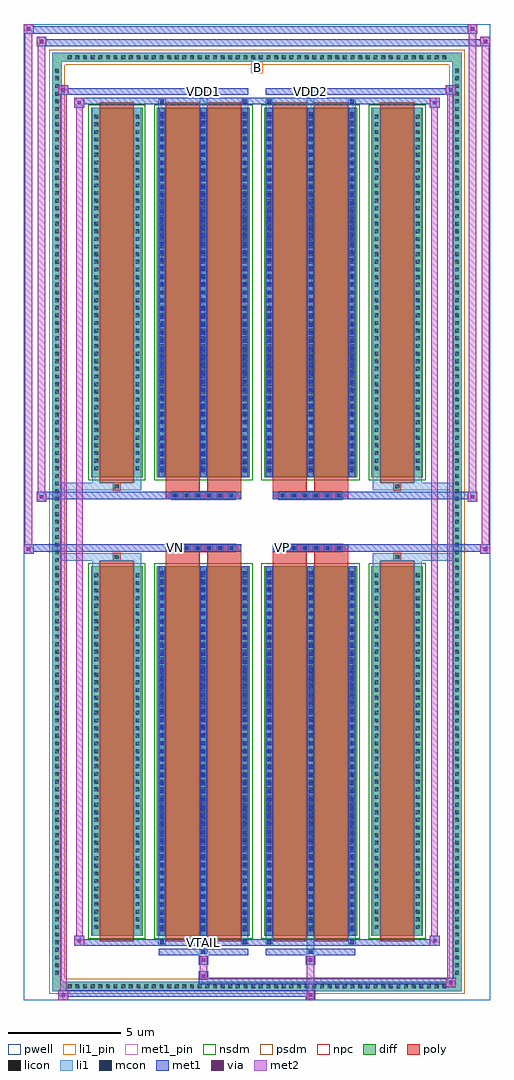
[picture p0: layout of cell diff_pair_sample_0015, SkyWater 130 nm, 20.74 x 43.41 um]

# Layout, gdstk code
import gdstk
lib = gdstk.Library(unit=1e-6, precision=5e-09)
def R(c, l, rs):  # rectangles x0, y0, x1, y1
    for r in rs: c.add(gdstk.rectangle(r[:2], r[2:], *l))
def A(c, l, x, y, w, h, nx, ny, dx, dy):  # array of equal rectangles
    R(c, l, [(x+i*dx, y+j*dy, x+i*dx+w, y+j*dy+h) for i in range(nx) for j in range(ny)])
def P(c, l, *ps):  # polygons
    for p in ps: c.add(gdstk.Polygon(p, *l))
pwell = (64, 44)
diff = (65, 20)
poly = (66, 20)
licon = (66, 44)
li1_pin = (67, 16)
li1 = (67, 20)
mcon = (67, 44)
met1_pin = (68, 16)
met1 = (68, 20)
via = (68, 44)
met2 = (69, 20)
nsdm = (93, 44)
psdm = (94, 20)
npc = (95, 20)

diff_pair_sample_0015 = lib.new_cell('diff_pair_sample_0015')
R(diff_pair_sample_0015, pwell, [(-10.37,-21.27,10.37,22.14), (-7.69,-19.46,-0.01,-0.8), (0.01,-19.46,7.69,-0.8), (-7.69,0.8,-0.01,19.46), (0.01,0.8,7.69,19.46)])
A(diff_pair_sample_0015, diff, -8.535, -20.87, 0.41, 0.41, 50, 2, 0.34, 41.33)
A(diff_pair_sample_0015, diff, -9.1, -20.265, 0.41, 0.41, 1, 119, 0, 0.34)
A(diff_pair_sample_0015, diff, 8.69, -20.265, 0.41, 0.41, 1, 119, 0, 0.34)
R(diff_pair_sample_0015, diff, [(-8.535,-20.87,8.535,-20.46), (-9.1,-20.265,-8.69,20.265), (8.69,-20.265,9.1,20.265), (-7.38,-18.415,-5.09,-1.985), (-4.45,-18.415,-0.32,-1.985), (0.32,-18.415,4.45,-1.985), (5.09,-18.415,7.38,-1.985), (-7.38,1.985,-5.09,18.415), (-4.45,1.985,-0.32,18.415), (0.32,1.985,4.45,18.415), (5.09,1.985,7.38,18.415), (-8.535,20.46,8.535,20.87)])
P(diff_pair_sample_0015, diff, [(9.1,20.87),(-9.1,20.87),(-9.1,-20.46),(-8.69,-20.46),(-8.69,20.46),(8.69,20.46),(8.69,-20.46),(-8.69,-20.46),(-9.1,-20.46),(-9.1,-20.87),(9.1,-20.87)])
A(diff_pair_sample_0015, poly, -3.8, -1.33, 0.33, 0.33, 6, 2, 0.5, 2.33)
A(diff_pair_sample_0015, poly, 0.97, -1.33, 0.33, 0.33, 6, 2, 0.5, 2.33)
R(diff_pair_sample_0015, poly, [(-6.99,-18.665,-5.48,-1.735), (-4.06,-18.665,-2.55,-1.735), (-2.22,-18.665,-0.71,-1.735), (0.71,-18.665,2.22,-1.735), (2.55,-18.665,4.06,-1.735), (5.48,-18.665,6.99,-1.735), (-6.4,-1.735,-6.07,-1.405), (-6.4,-1.735,-6.07,-1.405), (-4.06,-1.735,-2.55,-1.33), (-2.22,-1.735,-0.71,-1.33), (0.71,-1.735,2.22,-1.33), (2.55,-1.735,4.06,-1.33), (6.07,-1.735,6.4,-1.405), (6.07,-1.735,6.4,-1.405), (-4.06,-1.33,-0.71,-1), (0.71,-1.33,4.06,-1), (-4.06,1,-0.71,1.33), (0.71,1,4.06,1.33), (-4.06,1.33,-2.55,1.735), (-2.22,1.33,-0.71,1.735), (0.71,1.33,2.22,1.735), (2.55,1.33,4.06,1.735), (-6.4,1.405,-6.07,1.735), (-6.4,1.405,-6.07,1.735), (6.07,1.405,6.4,1.735), (6.07,1.405,6.4,1.735), (-6.99,1.735,-5.48,18.665), (-4.06,1.735,-2.55,18.665), (-2.22,1.735,-0.71,18.665), (0.71,1.735,2.22,18.665), (2.55,1.735,4.06,18.665), (5.48,1.735,6.99,18.665)])
A(diff_pair_sample_0015, licon, -8.415, -20.75, 0.17, 0.17, 50, 2, 0.34, 41.33)
A(diff_pair_sample_0015, licon, -8.98, -20.145, 0.17, 0.17, 1, 119, 0, 0.34)
A(diff_pair_sample_0015, licon, 8.81, -20.145, 0.17, 0.17, 1, 119, 0, 0.34)
A(diff_pair_sample_0015, licon, -7.24, -18.105, 0.17, 0.17, 1, 47, 0, 0.34)
A(diff_pair_sample_0015, licon, -5.4, -18.105, 0.17, 0.17, 1, 47, 0, 0.34)
A(diff_pair_sample_0015, licon, -4.31, -18.105, 0.17, 0.17, 3, 47, 1.84, 0.34)
A(diff_pair_sample_0015, licon, 0.46, -18.105, 0.17, 0.17, 3, 47, 1.84, 0.34)
A(diff_pair_sample_0015, licon, 5.23, -18.105, 0.17, 0.17, 1, 47, 0, 0.34)
A(diff_pair_sample_0015, licon, 7.07, -18.105, 0.17, 0.17, 1, 47, 0, 0.34)
A(diff_pair_sample_0015, licon, -3.72, -1.25, 0.17, 0.17, 6, 2, 0.5, 2.33)
A(diff_pair_sample_0015, licon, 1.05, -1.25, 0.17, 0.17, 6, 2, 0.5, 2.33)
A(diff_pair_sample_0015, licon, -7.24, 2.295, 0.17, 0.17, 1, 47, 0, 0.34)
A(diff_pair_sample_0015, licon, -5.4, 2.295, 0.17, 0.17, 1, 47, 0, 0.34)
A(diff_pair_sample_0015, licon, -4.31, 2.295, 0.17, 0.17, 3, 47, 1.84, 0.34)
A(diff_pair_sample_0015, licon, 0.46, 2.295, 0.17, 0.17, 3, 47, 1.84, 0.34)
A(diff_pair_sample_0015, licon, 5.23, 2.295, 0.17, 0.17, 1, 47, 0, 0.34)
A(diff_pair_sample_0015, licon, 7.07, 2.295, 0.17, 0.17, 1, 47, 0, 0.34)
R(diff_pair_sample_0015, licon, [(-6.32,-1.655,-6.15,-1.485), (6.15,-1.655,6.32,-1.485), (-6.32,1.485,-6.15,1.655), (6.15,1.485,6.32,1.655)])
R(diff_pair_sample_0015, li1_pin, [(-0.25,19.96,0.25,20.46)])
A(diff_pair_sample_0015, li1, -8.495, -20.83, 0.33, 0.33, 50, 2, 0.34, 41.33)
A(diff_pair_sample_0015, li1, -9.06, -20.225, 0.33, 0.33, 1, 119, 0, 0.34)
A(diff_pair_sample_0015, li1, 8.73, -20.225, 0.33, 0.33, 1, 119, 0, 0.34)
A(diff_pair_sample_0015, li1, -4.39, -18.415, 0.33, 16.43, 3, 2, 1.84, 20.4)
A(diff_pair_sample_0015, li1, 0.38, -18.415, 0.33, 16.43, 3, 2, 1.84, 20.4)
A(diff_pair_sample_0015, li1, -4.31, -18.205, 0.17, 0.17, 3, 45, 1.84, 0.36)
A(diff_pair_sample_0015, li1, -4.31, -18.205, 0.17, 16.01, 3, 2, 1.84, 20.4)
A(diff_pair_sample_0015, li1, 0.46, -18.205, 0.17, 0.17, 3, 45, 1.84, 0.36)
A(diff_pair_sample_0015, li1, 0.46, -18.205, 0.17, 16.01, 3, 2, 1.84, 20.4)
A(diff_pair_sample_0015, li1, -7.32, -18.185, 0.33, 0.33, 1, 47, 0, 0.34)
A(diff_pair_sample_0015, li1, -5.48, -18.185, 0.33, 0.33, 1, 47, 0, 0.34)
A(diff_pair_sample_0015, li1, -4.39, -18.185, 0.33, 0.33, 3, 47, 1.84, 0.34)
A(diff_pair_sample_0015, li1, 0.38, -18.185, 0.33, 0.33, 3, 47, 1.84, 0.34)
A(diff_pair_sample_0015, li1, 5.15, -18.185, 0.33, 0.33, 1, 47, 0, 0.34)
A(diff_pair_sample_0015, li1, 6.99, -18.185, 0.33, 0.33, 1, 47, 0, 0.34)
A(diff_pair_sample_0015, li1, -3.8, -1.33, 0.33, 0.33, 6, 2, 0.5, 2.33)
A(diff_pair_sample_0015, li1, 0.97, -1.33, 0.33, 0.33, 6, 2, 0.5, 2.33)
A(diff_pair_sample_0015, li1, -4.31, 2.195, 0.17, 0.17, 3, 45, 1.84, 0.36)
A(diff_pair_sample_0015, li1, 0.46, 2.195, 0.17, 0.17, 3, 45, 1.84, 0.36)
A(diff_pair_sample_0015, li1, -7.32, 2.215, 0.33, 0.33, 1, 47, 0, 0.34)
A(diff_pair_sample_0015, li1, -5.48, 2.215, 0.33, 0.33, 1, 47, 0, 0.34)
A(diff_pair_sample_0015, li1, -4.39, 2.215, 0.33, 0.33, 3, 47, 1.84, 0.34)
A(diff_pair_sample_0015, li1, 0.38, 2.215, 0.33, 0.33, 3, 47, 1.84, 0.34)
A(diff_pair_sample_0015, li1, 5.15, 2.215, 0.33, 0.33, 1, 47, 0, 0.34)
A(diff_pair_sample_0015, li1, 6.99, 2.215, 0.33, 0.33, 1, 47, 0, 0.34)
R(diff_pair_sample_0015, li1, [(-9.1,-20.87,-8.69,-20.46), (-9.1,-20.87,-8.69,-20.46), (-8.69,-20.87,8.69,-20.46), (8.69,-20.87,9.1,-20.46), (8.69,-20.87,9.1,-20.46), (-9.1,-20.46,-8.69,20.46), (8.69,-20.46,9.1,20.46), (-2.55,-19.22,-2.22,-18.415), (-2.47,-19.22,-2.3,-19.05), (2.22,-19.22,2.55,-18.415), (2.3,-19.22,2.47,-19.05), (-4.39,-18.79,-4.06,-18.415), (-4.31,-18.79,-4.14,-18.62), (-0.71,-18.79,-0.38,-18.415), (-0.63,-18.79,-0.46,-18.62), (0.38,-18.79,0.71,-18.415), (0.46,-18.79,0.63,-18.62), (4.06,-18.79,4.39,-18.415), (4.14,-18.79,4.31,-18.62), (-7.32,-18.415,-6.99,-1.985), (-5.48,-18.415,-5.15,-1.985), (5.15,-18.415,5.48,-1.985), (6.99,-18.415,7.32,-1.985), (-7.32,-1.985,-6.99,-1.405), (-5.48,-1.985,-5.15,-1.405), (5.15,-1.985,5.48,-1.405), (6.99,-1.985,7.32,-1.405), (-9.1,-1.735,-6.4,-1.405), (-7.32,-1.735,-6.4,-1.405), (-6.4,-1.735,-6.07,-1.405), (-6.07,-1.735,-5.15,-1.405), (5.15,-1.735,6.07,-1.405), (6.07,-1.735,6.4,-1.405), (6.07,-1.735,9.1,-1.405), (6.4,-1.735,7.32,-1.405), (-9.1,1.405,-6.4,1.735), (-7.32,1.405,-6.4,1.735), (-7.32,1.405,-6.99,1.985), (-6.4,1.405,-6.07,1.735), (-6.07,1.405,-5.15,1.735), (-5.48,1.405,-5.15,1.985), (5.15,1.405,6.07,1.735), (5.15,1.405,5.48,1.985), (6.07,1.405,6.4,1.735), (6.07,1.405,9.1,1.735), (6.4,1.405,7.32,1.735), (6.99,1.405,7.32,1.985), (-7.32,1.985,-6.99,18.415), (-5.48,1.985,-5.15,18.415), (5.15,1.985,5.48,18.415), (6.99,1.985,7.32,18.415), (-4.39,18.415,-4.06,18.79), (-2.55,18.415,-2.22,19.22), (-0.71,18.415,-0.38,18.79), (0.38,18.415,0.71,18.79), (2.22,18.415,2.55,19.22), (4.06,18.415,4.39,18.79), (-4.31,18.62,-4.14,18.79), (-0.63,18.62,-0.46,18.79), (0.46,18.62,0.63,18.79), (4.14,18.62,4.31,18.79), (-2.47,19.05,-2.3,19.22), (2.3,19.05,2.47,19.22), (-9.1,20.46,-8.69,20.87), (-9.1,20.46,-8.69,20.87), (-8.69,20.46,8.69,20.87), (8.69,20.46,9.1,20.87), (8.69,20.46,9.1,20.87)])
A(diff_pair_sample_0015, mcon, -4.31, -18.205, 0.17, 0.17, 3, 45, 1.84, 0.36)
A(diff_pair_sample_0015, mcon, 0.46, -18.205, 0.17, 0.17, 3, 45, 1.84, 0.36)
A(diff_pair_sample_0015, mcon, -3.72, -1.25, 0.17, 0.17, 6, 2, 0.5, 2.33)
A(diff_pair_sample_0015, mcon, 1.05, -1.25, 0.17, 0.17, 6, 2, 0.5, 2.33)
A(diff_pair_sample_0015, mcon, -4.31, 2.195, 0.17, 0.17, 3, 45, 1.84, 0.36)
A(diff_pair_sample_0015, mcon, 0.46, 2.195, 0.17, 0.17, 3, 45, 1.84, 0.36)
R(diff_pair_sample_0015, mcon, [(-2.47,-19.22,-2.3,-19.05), (2.3,-19.22,2.47,-19.05), (-4.31,-18.79,-4.14,-18.62), (-0.63,-18.79,-0.46,-18.62), (0.46,-18.79,0.63,-18.62), (4.14,-18.79,4.31,-18.62), (-4.31,18.62,-4.14,18.79), (-0.63,18.62,-0.46,18.79), (0.46,18.62,0.63,18.79), (4.14,18.62,4.31,18.79), (-2.47,19.05,-2.3,19.22), (2.3,19.05,2.47,19.22)])
R(diff_pair_sample_0015, met1_pin, [(-2.52,-18.83,-2.25,-18.56), (-3.77,-1.29,-3.5,-1.02), (1,-1.29,1.27,-1.02), (-2.52,19.01,-2.25,19.28), (2.25,19.01,2.52,19.28)])
A(diff_pair_sample_0015, met1, -4.37, -18.415, 0.29, 16.43, 3, 2, 1.84, 20.4)
A(diff_pair_sample_0015, met1, 0.4, -18.415, 0.29, 16.43, 3, 2, 1.84, 20.4)
A(diff_pair_sample_0015, met1, -4.37, -18.265, 0.29, 0.29, 3, 45, 1.84, 0.36)
A(diff_pair_sample_0015, met1, 0.4, -18.265, 0.29, 0.29, 3, 45, 1.84, 0.36)
A(diff_pair_sample_0015, met1, -3.78, -1.31, 0.29, 0.29, 6, 2, 0.5, 2.33)
A(diff_pair_sample_0015, met1, 0.99, -1.31, 0.29, 0.29, 6, 2, 0.5, 2.33)
A(diff_pair_sample_0015, met1, -4.37, 2.135, 0.29, 0.29, 3, 45, 1.84, 0.36)
A(diff_pair_sample_0015, met1, 0.4, 2.135, 0.29, 0.29, 3, 45, 1.84, 0.36)
R(diff_pair_sample_0015, met1, [(-8.83,-21.27,-8.4,-20.84), (2.17,-21.27,2.6,-20.84), (-8.83,-21.13,2.6,-20.84), (8.4,-20.7,8.83,-20.27), (-2.6,-20.56,8.83,-20.27), (-2.6,-20.42,-2.17,-19.99), (-2.6,-19.71,-2.17,-19.28), (2.17,-19.71,2.6,-19.28), (-4.37,-19.28,-0.4,-18.99), (-2.53,-19.28,-2.24,-18.99), (0.4,-19.28,4.37,-18.99), (2.24,-19.28,2.53,-18.99), (-8.12,-18.85,-7.69,-18.42), (-8.12,-18.85,-4.37,-18.56), (-4.37,-18.85,-4.08,-18.56), (-4.37,-18.85,-0.4,-18.56), (-0.69,-18.85,-0.4,-18.56), (-0.4,-18.85,0.4,-18.56), (0.4,-18.85,0.69,-18.56), (0.4,-18.85,4.37,-18.56), (4.08,-18.85,4.37,-18.56), (4.37,-18.85,8.12,-18.56), (7.69,-18.85,8.12,-18.42), (-10.37,-1.43,-9.94,-1), (9.94,-1.43,10.37,-1), (-10.37,-1.33,-0.71,-1), (-4.06,-1.33,-0.71,-1), (0.71,-1.33,4.06,-1), (0.71,-1.33,10.37,-1), (-9.8,0.9,-9.37,1.33), (9.37,0.9,9.8,1.33), (-9.8,1,-4.06,1.33), (-4.06,1,-0.71,1.33), (0.71,1,4.06,1.33), (4.06,1,9.8,1.33), (-8.12,18.42,-7.69,18.85), (7.69,18.42,8.12,18.85), (-8.12,18.56,-4.37,18.85), (-4.37,18.56,-4.08,18.85), (-4.37,18.56,-0.4,18.85), (-0.69,18.56,-0.4,18.85), (-0.4,18.56,0.4,18.85), (0.4,18.56,0.69,18.85), (0.4,18.56,4.37,18.85), (4.08,18.56,4.37,18.85), (4.37,18.56,8.12,18.85), (-8.83,18.99,-8.4,19.42), (-8.83,18.99,-4.37,19.28), (-4.37,18.99,-0.4,19.28), (-2.53,18.99,-2.24,19.28), (0.4,18.99,4.37,19.28), (2.24,18.99,2.53,19.28), (4.37,18.99,8.83,19.28), (8.4,18.99,8.83,19.42), (-9.8,21.14,-9.37,21.57), (-9.8,21.14,-7.69,21.47), (-7.69,21.14,7.69,21.47), (7.69,21.14,10.37,21.47), (9.94,21.14,10.37,21.57), (-10.37,21.71,-9.94,22.14), (-10.37,21.71,-7.69,22.04), (-7.69,21.71,7.69,22.04), (7.69,21.71,9.8,22.04), (9.37,21.71,9.8,22.14)])
R(diff_pair_sample_0015, via, [(-8.69,-21.13,-8.54,-20.98), (2.31,-21.13,2.46,-20.98), (8.54,-20.56,8.69,-20.41), (-2.46,-20.28,-2.31,-20.13), (-2.46,-19.57,-2.31,-19.42), (2.31,-19.57,2.46,-19.42), (-7.98,-18.71,-7.83,-18.56), (7.83,-18.71,7.98,-18.56), (-10.23,-1.29,-10.08,-1.14), (10.08,-1.29,10.23,-1.14), (-9.66,1.04,-9.51,1.19), (9.51,1.04,9.66,1.19), (-7.98,18.56,-7.83,18.71), (7.83,18.56,7.98,18.71), (-8.69,19.13,-8.54,19.28), (8.54,19.13,8.69,19.28), (-9.66,21.28,-9.51,21.43), (10.08,21.28,10.23,21.43), (-10.23,21.85,-10.08,22), (9.51,21.85,9.66,22)])
R(diff_pair_sample_0015, met2, [(-8.83,-21.27,-8.4,-20.84), (-8.76,-21.27,-8.47,19.42), (-8.47,-21.27,-8.4,-20.84), (-8.78,-21.22,-8.45,-20.89), (2.22,-21.22,2.55,-20.89), (2.22,-20.89,2.55,-19.66), (8.4,-20.7,8.83,-20.27), (8.47,-20.7,8.76,19.42), (8.76,-20.7,8.83,-20.27), (8.45,-20.65,8.78,-20.32), (-2.55,-20.37,-2.22,-20.04), (-2.55,-20.04,-2.22,-19.66), (-2.55,-19.66,-2.22,-19.33), (2.22,-19.66,2.55,-19.33), (-8.12,-18.85,-7.69,-18.42), (-8.05,-18.85,-7.76,18.85), (-7.76,-18.85,-7.69,-18.42), (7.69,-18.85,8.12,-18.42), (7.76,-18.85,8.05,18.85), (8.05,-18.85,8.12,-18.42), (-8.07,-18.8,-7.74,-18.47), (7.74,-18.8,8.07,-18.47), (-10.37,-1.43,-9.94,-1), (-10.32,-1.43,-9.99,22.14), (-9.99,-1.43,-9.94,-1), (9.94,-1.43,10.37,-1), (9.99,-1.43,10.32,21.57), (10.32,-1.43,10.37,-1), (-10.32,-1.38,-9.99,-1.05), (9.99,-1.38,10.32,-1.05), (-9.8,0.9,-9.37,1.33), (-9.75,0.9,-9.42,21.57), (-9.42,0.9,-9.37,1.33), (9.37,0.9,9.8,1.33), (9.42,0.9,9.75,22.14), (9.75,0.9,9.8,1.33), (-9.75,0.95,-9.42,1.28), (9.42,0.95,9.75,1.28), (-8.12,18.42,-7.69,18.85), (-7.76,18.42,-7.69,18.85), (7.69,18.42,8.12,18.85), (8.05,18.42,8.12,18.85), (-8.07,18.47,-7.74,18.8), (7.74,18.47,8.07,18.8), (-8.83,18.99,-8.4,19.42), (-8.47,18.99,-8.4,19.42), (8.4,18.99,8.83,19.42), (8.76,18.99,8.83,19.42), (-8.78,19.04,-8.45,19.37), (8.45,19.04,8.78,19.37), (-9.8,21.14,-9.37,21.57), (-9.42,21.14,-9.37,21.57), (9.94,21.14,10.37,21.57), (10.32,21.14,10.37,21.57), (-9.75,21.19,-9.42,21.52), (9.99,21.19,10.32,21.52), (-10.37,21.71,-9.94,22.14), (-9.99,21.71,-9.94,22.14), (9.37,21.71,9.8,22.14), (9.75,21.71,9.8,22.14), (-10.32,21.76,-9.99,22.09), (9.42,21.76,9.75,22.09)])
R(diff_pair_sample_0015, nsdm, [(-7.51,-18.545,-4.96,-1.855), (-4.58,-18.545,-0.19,-1.855), (0.19,-18.545,4.58,-1.855), (4.96,-18.545,7.51,-1.855), (-7.51,1.855,-4.96,18.545), (-4.58,1.855,-0.19,18.545), (0.19,1.855,4.58,18.545), (4.96,1.855,7.51,18.545)])
P(diff_pair_sample_0015, psdm, [(9.23,21),(-9.23,21),(-9.23,-20.33),(-8.56,-20.33),(-8.56,20.33),(8.56,20.33),(8.56,-20.33),(-8.56,-20.33),(-9.23,-20.33),(-9.23,-21),(9.23,-21)])
A(diff_pair_sample_0015, npc, -3.82, -1.35, 0.37, 0.37, 6, 2, 0.5, 2.33)
A(diff_pair_sample_0015, npc, 0.95, -1.35, 0.37, 0.37, 6, 2, 0.5, 2.33)
R(diff_pair_sample_0015, npc, [(-6.42,-1.755,-6.05,-1.385), (6.05,-1.755,6.42,-1.385), (-3.82,-1.35,-2.95,-0.98), (-3.82,-1.35,-2.95,-0.98), (-3.32,-1.35,-2.45,-0.98), (-3.32,-1.35,-2.45,-0.98), (-2.82,-1.35,-1.95,-0.98), (-2.82,-1.35,-1.95,-0.98), (-2.32,-1.35,-1.45,-0.98), (-2.32,-1.35,-1.45,-0.98), (-1.82,-1.35,-0.95,-0.98), (-1.82,-1.35,-0.95,-0.98), (0.95,-1.35,1.82,-0.98), (0.95,-1.35,1.82,-0.98), (1.45,-1.35,2.32,-0.98), (1.45,-1.35,2.32,-0.98), (1.95,-1.35,2.82,-0.98), (1.95,-1.35,2.82,-0.98), (2.45,-1.35,3.32,-0.98), (2.45,-1.35,3.32,-0.98), (2.95,-1.35,3.82,-0.98), (2.95,-1.35,3.82,-0.98), (-3.82,0.98,-2.95,1.35), (-3.82,0.98,-2.95,1.35), (-3.32,0.98,-2.45,1.35), (-3.32,0.98,-2.45,1.35), (-2.82,0.98,-1.95,1.35), (-2.82,0.98,-1.95,1.35), (-2.32,0.98,-1.45,1.35), (-2.32,0.98,-1.45,1.35), (-1.82,0.98,-0.95,1.35), (-1.82,0.98,-0.95,1.35), (0.95,0.98,1.82,1.35), (0.95,0.98,1.82,1.35), (1.45,0.98,2.32,1.35), (1.45,0.98,2.32,1.35), (1.95,0.98,2.82,1.35), (1.95,0.98,2.82,1.35), (2.45,0.98,3.32,1.35), (2.45,0.98,3.32,1.35), (2.95,0.98,3.82,1.35), (2.95,0.98,3.82,1.35), (-6.42,1.385,-6.05,1.755), (6.05,1.385,6.42,1.755)])
diff_pair_sample_0015.add(gdstk.Label('VTAIL', (-2.385,-18.695), layer=68, texttype=5))
diff_pair_sample_0015.add(gdstk.Label('VN', (-3.635,-1.155), layer=68, texttype=5))
diff_pair_sample_0015.add(gdstk.Label('VP', (1.135,-1.155), layer=68, texttype=5))
diff_pair_sample_0015.add(gdstk.Label('B', (0,20.21), layer=67, texttype=5))
diff_pair_sample_0015.add(gdstk.Label('VDD2', (2.385,19.145), layer=68, texttype=5))
diff_pair_sample_0015.add(gdstk.Label('VDD1', (-2.385,19.145), layer=68, texttype=5))

lib.write_gds('diff_pair_sample_0015.gds')
